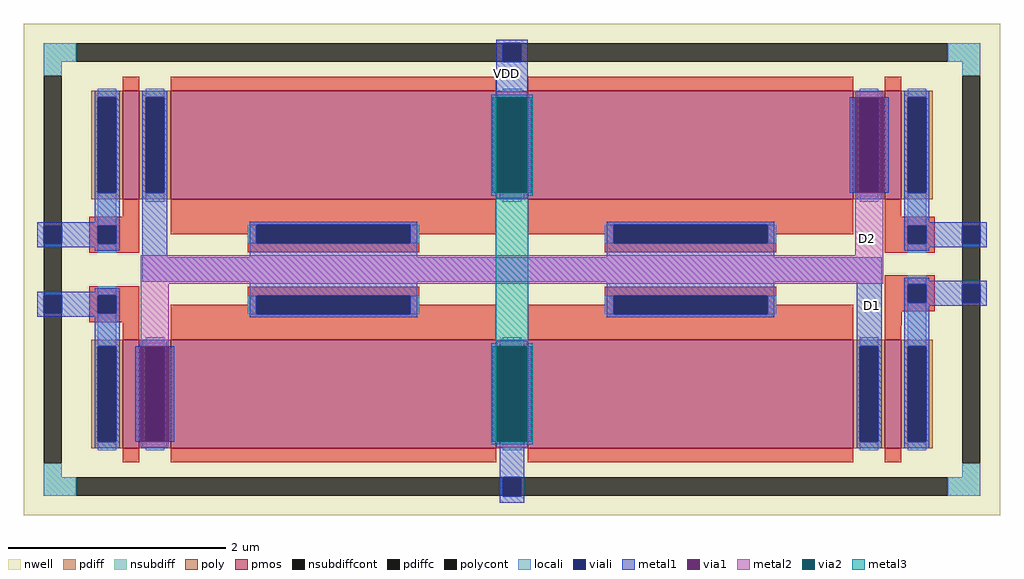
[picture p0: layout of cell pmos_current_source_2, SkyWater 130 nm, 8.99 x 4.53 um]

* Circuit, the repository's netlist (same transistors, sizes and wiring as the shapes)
** sch_path: /home/gilang_fajrul/chipalooza/sky130_gff_ip__bgr_1.2v/magic/pmos_current_source_2.sch
.subckt pmos_current_source_2 VDD D1 D2
*.PININFO VDD:B D1:B D2:B
XM1 D2 D1 VDD VDD sky130_fd_pr__pfet_01v8 L=3 W=1 nf=1 m=2
XM2 D1 D1 VDD VDD sky130_fd_pr__pfet_01v8 L=3 W=1 nf=1 m=2
XM3 D2 VDD VDD VDD sky130_fd_pr__pfet_01v8 L=0.15 W=1 nf=1 m=2
XM4 D1 VDD VDD VDD sky130_fd_pr__pfet_01v8 L=0.15 W=1 nf=1 m=2
.ends
.end

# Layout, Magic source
magic
tech sky130A
magscale 1 2
<< nwell >>
rect 464 1614 2262 2520
<< nsubdiff >>
rect 500 2450 560 2484
rect 2166 2450 2226 2484
rect 500 2424 534 2450
rect 2192 2424 2226 2450
rect 500 1684 534 1710
rect 2192 1684 2226 1710
rect 500 1650 560 1684
rect 2166 1650 2226 1684
<< nsubdiffcont >>
rect 560 2450 2166 2484
rect 500 1710 534 2424
rect 2192 1710 2226 2424
rect 560 1650 2166 1684
<< poly >>
rect 646 2164 676 2196
rect 584 2148 676 2164
rect 584 2114 600 2148
rect 634 2114 676 2148
rect 584 2098 676 2114
rect 2050 2164 2080 2170
rect 2050 2148 2142 2164
rect 2050 2114 2092 2148
rect 2126 2114 2142 2148
rect 2050 2098 2142 2114
rect 2050 2040 2142 2056
rect 584 2020 676 2036
rect 584 1986 600 2020
rect 634 1986 676 2020
rect 584 1970 676 1986
rect 646 1938 676 1970
rect 2050 2006 2092 2040
rect 2126 2006 2142 2040
rect 2050 1990 2142 2006
rect 2050 1964 2081 1990
<< polycont >>
rect 600 2114 634 2148
rect 2092 2114 2126 2148
rect 600 1986 634 2020
rect 2092 2006 2126 2040
<< locali >>
rect 500 2450 560 2484
rect 2166 2450 2226 2484
rect 500 2424 534 2450
rect 2192 2424 2226 2450
rect 600 2148 634 2196
rect 600 2098 634 2114
rect 2092 2148 2126 2193
rect 2092 2098 2126 2114
rect 2092 2040 2126 2056
rect 600 2020 634 2036
rect 600 1938 634 1986
rect 2092 1939 2126 2006
rect 500 1684 534 1710
rect 2192 1684 2226 1710
rect 500 1650 560 1684
rect 2166 1650 2226 1684
<< viali >>
rect 1346 2450 1380 2484
rect 500 2114 534 2148
rect 600 2114 634 2148
rect 2092 2114 2126 2148
rect 2192 2114 2226 2148
rect 500 1986 534 2020
rect 600 1986 634 2020
rect 2092 2006 2126 2040
rect 2192 2006 2226 2040
rect 1346 1650 1380 1684
rect 1346 1649 1380 1650
<< metal1 >>
rect 1334 2484 1392 2490
rect 1334 2450 1346 2484
rect 1380 2450 1392 2484
rect 1334 2384 1392 2450
rect 1327 2208 1337 2384
rect 1389 2208 1399 2384
rect 1985 2208 1995 2384
rect 2047 2208 2057 2384
rect 594 2154 640 2196
rect 488 2148 640 2154
rect 488 2114 500 2148
rect 534 2114 600 2148
rect 634 2114 640 2148
rect 488 2108 640 2114
rect 594 2102 640 2108
rect 682 2090 728 2208
rect 2086 2154 2132 2207
rect 2086 2148 2238 2154
rect 880 2090 1188 2114
rect 1538 2090 1846 2115
rect 2086 2114 2092 2148
rect 2126 2114 2192 2148
rect 2226 2114 2238 2148
rect 2086 2108 2238 2114
rect 2086 2102 2132 2108
rect 682 2044 2044 2090
rect 594 2026 640 2032
rect 488 2020 640 2026
rect 880 2021 1188 2044
rect 1538 2022 1846 2044
rect 488 1986 500 2020
rect 534 1986 600 2020
rect 634 1986 640 2020
rect 488 1980 640 1986
rect 594 1938 640 1980
rect 1998 1931 2044 2044
rect 2086 2046 2132 2052
rect 2086 2040 2238 2046
rect 2086 2006 2092 2040
rect 2126 2006 2192 2040
rect 2226 2006 2238 2040
rect 2086 2000 2238 2006
rect 2086 1932 2132 2000
rect 669 1750 679 1926
rect 731 1750 741 1926
rect 1327 1750 1337 1926
rect 1389 1750 1399 1926
rect 1340 1684 1386 1750
rect 1340 1649 1346 1684
rect 1380 1649 1386 1684
rect 1340 1637 1386 1649
<< via1 >>
rect 1337 2208 1389 2384
rect 1995 2208 2047 2384
rect 679 1750 731 1926
rect 1337 1750 1389 1926
<< metal2 >>
rect 1335 2384 1391 2394
rect 1335 2198 1391 2208
rect 1995 2384 2047 2394
rect 1995 2093 2047 2208
rect 679 2041 2047 2093
rect 679 1926 731 2041
rect 679 1740 731 1750
rect 1335 1926 1391 1936
rect 1335 1740 1391 1750
<< via2 >>
rect 1335 2208 1337 2384
rect 1337 2208 1389 2384
rect 1389 2208 1391 2384
rect 1335 1750 1337 1926
rect 1337 1750 1389 1926
rect 1389 1750 1391 1926
<< metal3 >>
rect 1325 2384 1401 2389
rect 1325 2208 1335 2384
rect 1391 2208 1401 2384
rect 1325 2203 1401 2208
rect 1333 1931 1393 2203
rect 1325 1926 1401 1931
rect 1325 1750 1335 1926
rect 1391 1750 1401 1926
rect 1325 1745 1401 1750
use sky130_fd_pr__pfet_01v8_2XU96L  sky130_fd_pr__pfet_01v8_2XU96L_1 ~/chipalooza/sky130_gff_ip__bgr_1.2v/magic
transform 1 0 661 0 1 1838
box -109 -162 109 162
use sky130_fd_pr__pfet_01v8_2XU96L  sky130_fd_pr__pfet_01v8_2XU96L_2
transform 1 0 661 0 1 2296
box -109 -162 109 162
use sky130_fd_pr__pfet_01v8_2XU96L  sky130_fd_pr__pfet_01v8_2XU96L_3
transform 1 0 2065 0 1 2296
box -109 -162 109 162
use sky130_fd_pr__pfet_01v8_2XU96L  sky130_fd_pr__pfet_01v8_2XU96L_4
transform 1 0 2065 0 1 1838
box -109 -162 109 162
use sky130_fd_pr__pfet_01v8_9X8F2A  sky130_fd_pr__pfet_01v8_9X8F2A_0
transform 1 0 1363 0 1 1874
box -723 -198 723 164
use sky130_fd_pr__pfet_01v8_CVDFWD  sky130_fd_pr__pfet_01v8_CVDFWD_0
transform 1 0 1363 0 1 2260
box -723 -164 723 198
<< labels >>
flabel metal1 1353 2428 1353 2428 0 FreeSans 160 0 0 0 VDD
port 2 nsew
flabel metal2 2017 2125 2017 2125 0 FreeSans 160 0 0 0 D2
port 3 nsew
flabel metal1 2027 2000 2027 2000 0 FreeSans 160 0 0 0 D1
port 5 nsew
<< end >>

# cell sky130_fd_pr__pfet_01v8_2XU96L: kit device sky130_fd_pr__pfet_01v8, w 1 l 0.15 m 1 nf 1 diffcov 100 polycov 100 guard 0 glc 1 grc 1 gtc 1 gbc 1 tbcov 100 rlcov 100 topc 0 botc 0 poverlap 0 doverlap 0 lmin 0.15 wmin 0.42 compatible {sky130_fd_pr__pfet_01v8 sky130_fd_pr__pfet_01v8_lvt sky130_fd_pr__pfet_01v8_hvt sky130_fd_pr__pfet_g5v0d10v5} full_metal 1 viasrc 100 viadrn 100 viagate 100 viagb 0 viagr 0 viagl 0 viagt 0

# cell sky130_fd_pr__pfet_01v8_9X8F2A: kit device sky130_fd_pr__pfet_01v8, w 1 l 3 m 1 nf 2 diffcov 100 polycov 50 guard 0 glc 1 grc 1 gtc 1 gbc 1 tbcov 100 rlcov 100 topc 1 botc 0 poverlap 0 doverlap 1 lmin 0.15 wmin 0.42 compatible {sky130_fd_pr__pfet_01v8 sky130_fd_pr__pfet_01v8_lvt sky130_fd_pr__pfet_01v8_hvt sky130_fd_pr__pfet_g5v0d10v5} full_metal 1 viasrc 100 viadrn 100 viagate 50 viagb 0 viagr 0 viagl 0 viagt 0

# cell sky130_fd_pr__pfet_01v8_CVDFWD: kit device sky130_fd_pr__pfet_01v8, w 1 l 3 m 1 nf 2 diffcov 100 polycov 50 guard 0 glc 1 grc 1 gtc 1 gbc 1 tbcov 100 rlcov 100 topc 0 botc 1 poverlap 0 doverlap 1 lmin 0.15 wmin 0.42 compatible {sky130_fd_pr__pfet_01v8 sky130_fd_pr__pfet_01v8_lvt sky130_fd_pr__pfet_01v8_hvt sky130_fd_pr__pfet_g5v0d10v5} full_metal 1 viasrc 100 viadrn 100 viagate 50 viagb 0 viagr 0 viagl 0 viagt 0
